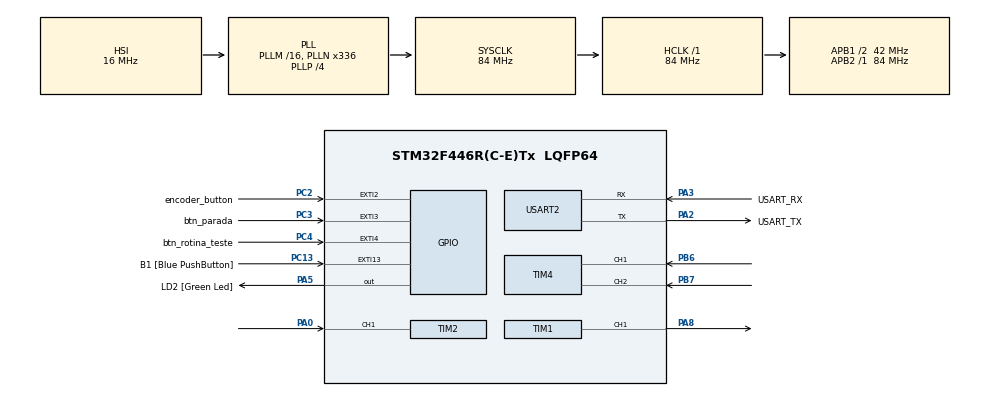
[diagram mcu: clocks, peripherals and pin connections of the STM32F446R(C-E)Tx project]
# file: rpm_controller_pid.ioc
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Mcu.Family=STM32F4
Mcu.Name=STM32F446R(C-E)Tx
Mcu.Package=LQFP64
Mcu.UserConstants=pwm,pwm
NVIC.EXTI15_10_IRQn=true\:0\:0\:false\:false\:true\:true\:true\:true
NVIC.EXTI2_IRQn=true\:0\:0\:false\:false\:true\:true\:true\:true
NVIC.EXTI3_IRQn=true\:0\:0\:false\:false\:true\:true\:true\:true
NVIC.EXTI4_IRQn=true\:0\:0\:false\:false\:true\:true\:true\:true
NVIC.PriorityGroup=NVIC_PRIORITYGROUP_0
NVIC.TIM1_BRK_TIM9_IRQn=true\:0\:0\:false\:false\:true\:true\:true\:true
NVIC.TIM1_CC_IRQn=true\:0\:0\:false\:false\:true\:true\:true\:true
NVIC.TIM1_TRG_COM_TIM11_IRQn=true\:0\:0\:false\:false\:true\:true\:true\:true
NVIC.TIM1_UP_TIM10_IRQn=true\:0\:0\:false\:false\:true\:true\:true\:true
NVIC.TIM2_IRQn=true\:0\:0\:false\:false\:true\:true\:true\:true
NVIC.TIM4_IRQn=true\:0\:0\:false\:false\:true\:true\:true\:true
NVIC.USART2_IRQn=true\:0\:0\:false\:false\:true\:true\:true\:true
PA0-WKUP.Signal=S_TIM2_CH1_ETR
PA13.GPIO_Label=TMS
PA13.Mode=Serial_Wire
PA13.Signal=SYS_JTMS-SWDIO
PA14.GPIO_Label=TCK
PA14.Mode=Serial_Wire
PA14.Signal=SYS_JTCK-SWCLK
PA2.GPIO_Label=USART_TX
PA2.Mode=Asynchronous
PA2.Signal=USART2_TX
PA3.GPIO_Label=USART_RX
PA3.Mode=Asynchronous
PA3.Signal=USART2_RX
PA5.GPIO_Label=LD2 [Green Led]
PA5.Signal=GPIO_Output
PA8.Signal=S_TIM1_CH1
PB3.GPIO_Label=SWO
PB3.Signal=SYS_JTDO-SWO
PB6.Signal=S_TIM4_CH1
PB7.Signal=S_TIM4_CH2
PC13.GPIO_Label=B1 [Blue PushButton]
PC13.GPIO_ModeDefaultEXTI=GPIO_MODE_IT_FALLING
PC13.Signal=GPXTI13
PC14-OSC32_IN.Mode=LSE-External-Oscillator
PC14-OSC32_IN.Signal=RCC_OSC32_IN
PC15-OSC32_OUT.Mode=LSE-External-Oscillator
PC15-OSC32_OUT.Signal=RCC_OSC32_OUT
PC2.GPIO_Label=encoder_button
PC2.GPIO_ModeDefaultEXTI=GPIO_MODE_IT_FALLING
PC2.Signal=GPXTI2
PC3.GPIO_Label=btn_parada
PC3.Signal=GPXTI3
PC4.GPIO_Label=btn_rotina_teste
PC4.Signal=GPXTI4
PH0-OSC_IN.Mode=HSE-External-Oscillator
PH0-OSC_IN.Signal=RCC_OSC_IN
PH1-OSC_OUT.Mode=HSE-External-Oscillator
PH1-OSC_OUT.Signal=RCC_OSC_OUT
ProjectManager.HeapSize=0x200
ProjectManager.StackSize=0x400
ProjectManager.TargetToolchain=STM32CubeIDE
RCC.48MHZClocksFreq_Value=84000000
RCC.AHBFreq_Value=84000000
RCC.APB1CLKDivider=RCC_HCLK_DIV2
RCC.APB1Freq_Value=42000000
RCC.APB1TimFreq_Value=84000000
RCC.APB2Freq_Value=84000000
RCC.APB2TimFreq_Value=84000000
RCC.CortexFreq_Value=84000000
RCC.FLatency-AdvancedSettings=FLASH_LATENCY_2
RCC.HCLKFreq_Value=84000000
RCC.HSE_VALUE=8000000
RCC.HSI_VALUE=16000000
RCC.PLLN=336
RCC.PLLP=RCC_PLLP_DIV4
RCC.SYSCLKFreq_VALUE=84000000
RCC.SYSCLKSource=RCC_SYSCLKSOURCE_PLLCLK
RCC.USBFreq_Value=168000000
RCC.VCOOutputFreq_Value=336000000
SH.S_TIM1_CH1.0=TIM1_CH1,PWM Generation1 CH1
SH.S_TIM2_CH1_ETR.0=TIM2_CH1,Input_Capture1_from_TI1
SH.S_TIM4_CH1.0=TIM4_CH1,Encoder_Interface
SH.S_TIM4_CH2.0=TIM4_CH2,Encoder_Interface
TIM1.Channel-Output\ Compare2\ No\ Output=TIM_CHANNEL_2
TIM1.Channel-PWM\ Generation1\ CH1=TIM_CHANNEL_1
TIM1.OCPolarity_1=TIM_OCPOLARITY_HIGH
TIM1.Period=1000-1
TIM1.Prescaler=84-1
TIM1.Pulse-Output\ Compare2\ No\ Output=999
TIM2.Channel-Input_Capture1_from_TI1=TIM_CHANNEL_1
TIM2.ICPolarity_CH1=TIM_INPUTCHANNELPOLARITY_FALLING
TIM2.Prescaler=840 - 1
TIM4.EncoderMode=TIM_ENCODERMODE_TI12
TIM4.IC1Filter=10
TIM4.IC2Filter=10
USART2.VirtualMode=VM_ASYNC
VP_TIM1_VS_ClockSourceINT.Mode=Internal
VP_TIM1_VS_no_output2.Mode=Output Compare2 No Output
VP_TIM2_VS_ClockSourceINT.Mode=Internal
board=NUCLEO-F446RE

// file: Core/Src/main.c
/* USER CODE BEGIN Header */
/**
  ******************************************************************************
  * @file           : main.c
  * @brief          : Main program body
  ******************************************************************************
  * @attention
  *
  * Copyright (c) 2025 STMicroelectronics.
  * All rights reserved.
  *
  * This software is licensed under terms that can be found in the LICENSE file
  * in the root directory of this software component.
  * If no LICENSE file comes with this software, it is provided AS-IS.
  *
  ******************************************************************************
  */
/* USER CODE END Header */
#include "main.h"

/* USER CODE BEGIN Includes */
#include <stdlib.h>
#include <stdio.h>
#include <stdbool.h>
#include <string.h>
/* USER CODE END Includes */

/* USER CODE BEGIN PD */
#define RX_BUFFER_SIZE 100
#define TX_BUFFER_SIZE 100
#define TIMCLOCK 84000000
#define PRESCALER 840
/* USER CODE END PD */

TIM_HandleTypeDef htim1;
TIM_HandleTypeDef htim2;
TIM_HandleTypeDef htim4;

UART_HandleTypeDef huart2;

void SystemClock_Config(void);
static void MX_GPIO_Init(void);
static void MX_USART2_UART_Init(void);
static void MX_TIM4_Init(void);
static void MX_TIM1_Init(void);
static void MX_TIM2_Init(void);
/* USER CODE BEGIN PFP */
void HAL_GPIO_EXTI_Callback(uint16_t GPIO_Pin);
void HAL_TIM_IC_CaptureCallback(TIM_HandleTypeDef *htim);
void Encoder_CheckChange(TIM_HandleTypeDef *htim);
/* USER CODE END PFP */

/* USER CODE BEGIN 0 */
//PID_TypeDef RPM_PID;

uint32_t encoder_position = 0;
uint32_t rpm_selection = 1;
double pwm = 0;
uint32_t last_count = 0;
uint32_t count = 0;
uint32_t velocity[3] = {250, 305, 1000};

bool parada = true;
bool teste_motor = false;

bool is_captured = false;
uint32_t IC_Val1 = 0;
uint32_t IC_Val2 = 0;
uint32_t difference = 0;
float ref_clock = 0;
double frequencia = 0;
double rpm_real = 0;

char cmd;

char tx_buffer[TX_BUFFER_SIZE];
char msg[150];
int aux = 0;
int oc_ticks = 0;

/* USER CODE END 0 */

int main(void)
{

  /* MCU Configuration--------------------------------------------------------*/

  /* Reset of all peripherals, Initializes the Flash interface and the Systick. */
  HAL_Init();

  /* Configure the system clock */
  SystemClock_Config();

  /* Initialize all configured peripherals */
  MX_GPIO_Init();
  MX_USART2_UART_Init();
  MX_TIM4_Init();
  MX_TIM1_Init();
  MX_TIM2_Init();
  /* USER CODE BEGIN 2 */
  HAL_TIM_Encoder_Start(&htim4, TIM_CHANNEL_ALL);
  HAL_TIM_IC_Start_IT(&htim2, TIM_CHANNEL_1);
  HAL_UART_Receive_IT(&huart2, &cmd, 1);
  HAL_TIM_PWM_Start(&htim1, TIM_CHANNEL_1);

  /* USER CODE END 2 */

  /* Infinite loop */
  /* USER CODE BEGIN WHILE */
  while (1)
  {
	 encoder_position = __HAL_TIM_GET_COUNTER(&htim4);
	 rpm_real = frequencia*60;
	 Encoder_CheckChange(&htim4);
	 if(rpm_selection > 3){
		 rpm_selection = 3;
	 } else if(rpm_selection < 1){
		 rpm_selection = 1;
	 }
	 sprintf(msg, "{\"parada\": \"%s\", \"teste_motor\": \"%s\", \"frequencia\": \"%d\", \"rpm_real\": \"%d\", \"rpm_selection\": \"%d\"}\r\n", (parada ? "true" : "false"), (teste_motor ? "true" : "false"), (int) frequencia, (int) rpm_real, (int) rpm_selection);
	 //sprintf(msg, "{\"parada\": \"%s\", \"teste_motor\": \"%s\", \"frequencia\": \"%d\", \"rpm_real\": \"%d\"}\r\n", (parada ? "true" : "false"), (teste_motor ? "true" : "false"), (int) frequencia, (int) rpm_real);
	 HAL_UART_Transmit(&huart2, msg, strlen(msg), 10);
	 if(parada) {
	  	 __HAL_TIM_SET_COMPARE(&htim1, TIM_CHANNEL_1, 0);
	  	 frequencia = 0;
	  	 rpm_real = 0;
	 } else if(teste_motor){
	 	 __HAL_TIM_SET_COMPARE(&htim1, TIM_CHANNEL_1, velocity[aux]);
	 }else{
	 	 __HAL_TIM_SET_COMPARE(&htim1, TIM_CHANNEL_1, velocity[rpm_selection - 1]);
	 }
    /* USER CODE END WHILE */

  }
}

void SystemClock_Config(void)
{
  RCC_OscInitTypeDef RCC_OscInitStruct = {0};
  RCC_ClkInitTypeDef RCC_ClkInitStruct = {0};

  /** Configure the main internal regulator output voltage
  */
  __HAL_RCC_PWR_CLK_ENABLE();
  __HAL_PWR_VOLTAGESCALING_CONFIG(PWR_REGULATOR_VOLTAGE_SCALE3);

  /** Initializes the RCC Oscillators according to the specified parameters
  * in the RCC_OscInitTypeDef structure.
  */
  RCC_OscInitStruct.OscillatorType = RCC_OSCILLATORTYPE_HSI;
  RCC_OscInitStruct.HSIState = RCC_HSI_ON;
  RCC_OscInitStruct.HSICalibrationValue = RCC_HSICALIBRATION_DEFAULT;
  RCC_OscInitStruct.PLL.PLLState = RCC_PLL_ON;
  RCC_OscInitStruct.PLL.PLLSource = RCC_PLLSOURCE_HSI;
  RCC_OscInitStruct.PLL.PLLM = 16;
  RCC_OscInitStruct.PLL.PLLN = 336;
  RCC_OscInitStruct.PLL.PLLP = RCC_PLLP_DIV4;
  RCC_OscInitStruct.PLL.PLLQ = 2;
  RCC_OscInitStruct.PLL.PLLR = 2;
  if (HAL_RCC_OscConfig(&RCC_OscInitStruct) != HAL_OK)
  {
    Error_Handler();
  }

  /** Initializes the CPU, AHB and APB buses clocks
  */
  RCC_ClkInitStruct.ClockType = RCC_CLOCKTYPE_HCLK|RCC_CLOCKTYPE_SYSCLK
                              |RCC_CLOCKTYPE_PCLK1|RCC_CLOCKTYPE_PCLK2;
  RCC_ClkInitStruct.SYSCLKSource = RCC_SYSCLKSOURCE_PLLCLK;
  RCC_ClkInitStruct.AHBCLKDivider = RCC_SYSCLK_DIV1;
  RCC_ClkInitStruct.APB1CLKDivider = RCC_HCLK_DIV2;
  RCC_ClkInitStruct.APB2CLKDivider = RCC_HCLK_DIV1;

  if (HAL_RCC_ClockConfig(&RCC_ClkInitStruct, FLASH_LATENCY_2) != HAL_OK)
  {
    Error_Handler();
  }
}

static void MX_TIM1_Init(void)
{

  TIM_ClockConfigTypeDef sClockSourceConfig = {0};
  TIM_MasterConfigTypeDef sMasterConfig = {0};
  TIM_OC_InitTypeDef sConfigOC = {0};
  TIM_BreakDeadTimeConfigTypeDef sBreakDeadTimeConfig = {0};

  htim1.Instance = TIM1;
  htim1.Init.Prescaler = 84-1;
  htim1.Init.CounterMode = TIM_COUNTERMODE_UP;
  htim1.Init.Period = 1000-1;
  htim1.Init.ClockDivision = TIM_CLOCKDIVISION_DIV1;
  htim1.Init.RepetitionCounter = 0;
  htim1.Init.AutoReloadPreload = TIM_AUTORELOAD_PRELOAD_DISABLE;
  if (HAL_TIM_Base_Init(&htim1) != HAL_OK)
  {
    Error_Handler();
  }
  sClockSourceConfig.ClockSource = TIM_CLOCKSOURCE_INTERNAL;
  if (HAL_TIM_ConfigClockSource(&htim1, &sClockSourceConfig) != HAL_OK)
  {
    Error_Handler();
  }
  if (HAL_TIM_PWM_Init(&htim1) != HAL_OK)
  {
    Error_Handler();
  }
  if (HAL_TIM_OC_Init(&htim1) != HAL_OK)
  {
    Error_Handler();
  }
  sMasterConfig.MasterOutputTrigger = TIM_TRGO_RESET;
  sMasterConfig.MasterSlaveMode = TIM_MASTERSLAVEMODE_DISABLE;
  if (HAL_TIMEx_MasterConfigSynchronization(&htim1, &sMasterConfig) != HAL_OK)
  {
    Error_Handler();
  }
  sConfigOC.OCMode = TIM_OCMODE_PWM1;
  sConfigOC.Pulse = 0;
  sConfigOC.OCPolarity = TIM_OCPOLARITY_HIGH;
  sConfigOC.OCNPolarity = TIM_OCNPOLARITY_HIGH;
  sConfigOC.OCFastMode = TIM_OCFAST_DISABLE;
  sConfigOC.OCIdleState = TIM_OCIDLESTATE_RESET;
  sConfigOC.OCNIdleState = TIM_OCNIDLESTATE_RESET;
  if (HAL_TIM_PWM_ConfigChannel(&htim1, &sConfigOC, TIM_CHANNEL_1) != HAL_OK)
  {
    Error_Handler();
  }
  sConfigOC.OCMode = TIM_OCMODE_TIMING;
  sConfigOC.Pulse = 999;
  if (HAL_TIM_OC_ConfigChannel(&htim1, &sConfigOC, TIM_CHANNEL_2) != HAL_OK)
  {
    Error_Handler();
  }
  sBreakDeadTimeConfig.OffStateRunMode = TIM_OSSR_DISABLE;
  sBreakDeadTimeConfig.OffStateIDLEMode = TIM_OSSI_DISABLE;
  sBreakDeadTimeConfig.LockLevel = TIM_LOCKLEVEL_OFF;
  sBreakDeadTimeConfig.DeadTime = 0;
  sBreakDeadTimeConfig.BreakState = TIM_BREAK_DISABLE;
  sBreakDeadTimeConfig.BreakPolarity = TIM_BREAKPOLARITY_HIGH;
  sBreakDeadTimeConfig.AutomaticOutput = TIM_AUTOMATICOUTPUT_DISABLE;
  if (HAL_TIMEx_ConfigBreakDeadTime(&htim1, &sBreakDeadTimeConfig) != HAL_OK)
  {
    Error_Handler();
  }
  HAL_TIM_MspPostInit(&htim1);

}

static void MX_TIM2_Init(void)
{

  TIM_ClockConfigTypeDef sClockSourceConfig = {0};
  TIM_MasterConfigTypeDef sMasterConfig = {0};
  TIM_IC_InitTypeDef sConfigIC = {0};

  htim2.Instance = TIM2;
  htim2.Init.Prescaler = 840 - 1;
  htim2.Init.CounterMode = TIM_COUNTERMODE_UP;
  htim2.Init.Period = 4294967295;
  htim2.Init.ClockDivision = TIM_CLOCKDIVISION_DIV1;
  htim2.Init.AutoReloadPreload = TIM_AUTORELOAD_PRELOAD_DISABLE;
  if (HAL_TIM_Base_Init(&htim2) != HAL_OK)
  {
    Error_Handler();
  }
  sClockSourceConfig.ClockSource = TIM_CLOCKSOURCE_INTERNAL;
  if (HAL_TIM_ConfigClockSource(&htim2, &sClockSourceConfig) != HAL_OK)
  {
    Error_Handler();
  }
  if (HAL_TIM_IC_Init(&htim2) != HAL_OK)
  {
    Error_Handler();
  }
  sMasterConfig.MasterOutputTrigger = TIM_TRGO_RESET;
  sMasterConfig.MasterSlaveMode = TIM_MASTERSLAVEMODE_DISABLE;
  if (HAL_TIMEx_MasterConfigSynchronization(&htim2, &sMasterConfig) != HAL_OK)
  {
    Error_Handler();
  }
  sConfigIC.ICPolarity = TIM_INPUTCHANNELPOLARITY_FALLING;
  sConfigIC.ICSelection = TIM_ICSELECTION_DIRECTTI;
  sConfigIC.ICPrescaler = TIM_ICPSC_DIV1;
  sConfigIC.ICFilter = 0;
  if (HAL_TIM_IC_ConfigChannel(&htim2, &sConfigIC, TIM_CHANNEL_1) != HAL_OK)
  {
    Error_Handler();
  }

}

static void MX_TIM4_Init(void)
{

  TIM_Encoder_InitTypeDef sConfig = {0};
  TIM_MasterConfigTypeDef sMasterConfig = {0};

  htim4.Instance = TIM4;
  htim4.Init.Prescaler = 0;
  htim4.Init.CounterMode = TIM_COUNTERMODE_UP;
  htim4.Init.Period = 65535;
  htim4.Init.ClockDivision = TIM_CLOCKDIVISION_DIV1;
  htim4.Init.AutoReloadPreload = TIM_AUTORELOAD_PRELOAD_DISABLE;
  sConfig.EncoderMode = TIM_ENCODERMODE_TI12;
  sConfig.IC1Polarity = TIM_ICPOLARITY_RISING;
  sConfig.IC1Selection = TIM_ICSELECTION_DIRECTTI;
  sConfig.IC1Prescaler = TIM_ICPSC_DIV1;
  sConfig.IC1Filter = 10;
  sConfig.IC2Polarity = TIM_ICPOLARITY_RISING;
  sConfig.IC2Selection = TIM_ICSELECTION_DIRECTTI;
  sConfig.IC2Prescaler = TIM_ICPSC_DIV1;
  sConfig.IC2Filter = 10;
  if (HAL_TIM_Encoder_Init(&htim4, &sConfig) != HAL_OK)
  {
    Error_Handler();
  }
  sMasterConfig.MasterOutputTrigger = TIM_TRGO_RESET;
  sMasterConfig.MasterSlaveMode = TIM_MASTERSLAVEMODE_DISABLE;
  if (HAL_TIMEx_MasterConfigSynchronization(&htim4, &sMasterConfig) != HAL_OK)
  {
    Error_Handler();
  }

}

static void MX_USART2_UART_Init(void)
{

  huart2.Instance = USART2;
  huart2.Init.BaudRate = 115200;
  huart2.Init.WordLength = UART_WORDLENGTH_8B;
  huart2.Init.StopBits = UART_STOPBITS_1;
  huart2.Init.Parity = UART_PARITY_NONE;
  huart2.Init.Mode = UART_MODE_TX_RX;
  huart2.Init.HwFlowCtl = UART_HWCONTROL_NONE;
  huart2.Init.OverSampling = UART_OVERSAMPLING_16;
  if (HAL_UART_Init(&huart2) != HAL_OK)
  {
    Error_Handler();
  }

}

static void MX_GPIO_Init(void)
{
  GPIO_InitTypeDef GPIO_InitStruct = {0};

  /* GPIO Ports Clock Enable */
  __HAL_RCC_GPIOC_CLK_ENABLE();
  __HAL_RCC_GPIOH_CLK_ENABLE();
  __HAL_RCC_GPIOA_CLK_ENABLE();
  __HAL_RCC_GPIOB_CLK_ENABLE();

  /*Configure GPIO pin Output Level */
  HAL_GPIO_WritePin(LD2_GPIO_Port, LD2_Pin, GPIO_PIN_RESET);

  /*Configure GPIO pins : B1_Pin encoder_button_Pin */
  GPIO_InitStruct.Pin = B1_Pin|encoder_button_Pin;
  GPIO_InitStruct.Mode = GPIO_MODE_IT_FALLING;
  GPIO_InitStruct.Pull = GPIO_NOPULL;
  HAL_GPIO_Init(GPIOC, &GPIO_InitStruct);

  /*Configure GPIO pins : btn_parada_Pin btn_rotina_teste_Pin */
  GPIO_InitStruct.Pin = btn_parada_Pin|btn_rotina_teste_Pin;
  GPIO_InitStruct.Mode = GPIO_MODE_IT_RISING;
  GPIO_InitStruct.Pull = GPIO_NOPULL;
  HAL_GPIO_Init(GPIOC, &GPIO_InitStruct);

  /*Configure GPIO pin : LD2_Pin */
  GPIO_InitStruct.Pin = LD2_Pin;
  GPIO_InitStruct.Mode = GPIO_MODE_OUTPUT_PP;
  GPIO_InitStruct.Pull = GPIO_NOPULL;
  GPIO_InitStruct.Speed = GPIO_SPEED_FREQ_LOW;
  HAL_GPIO_Init(LD2_GPIO_Port, &GPIO_InitStruct);

  /* EXTI interrupt init*/
  HAL_NVIC_SetPriority(EXTI2_IRQn, 0, 0);
  HAL_NVIC_EnableIRQ(EXTI2_IRQn);

  HAL_NVIC_SetPriority(EXTI3_IRQn, 0, 0);
  HAL_NVIC_EnableIRQ(EXTI3_IRQn);

  HAL_NVIC_SetPriority(EXTI4_IRQn, 0, 0);
  HAL_NVIC_EnableIRQ(EXTI4_IRQn);

  HAL_NVIC_SetPriority(EXTI15_10_IRQn, 0, 0);
  HAL_NVIC_EnableIRQ(EXTI15_10_IRQn);

}

/* USER CODE BEGIN 4 */
void HAL_GPIO_EXTI_Callback(uint16_t GPIO_Pin) {
	uint32_t tempo_atual = HAL_GetTick();
	static uint32_t tempo_anterior = 0;
	static uint32_t tempo_anterior_parada = 0;
	static uint32_t tempo_anterior_teste = 0;

	switch(GPIO_Pin) {
	case encoder_button_Pin:
		if(((tempo_atual - tempo_anterior) > 50) && oc_ticks == 0) {
			parada = false;
			teste_motor = false;
			tempo_anterior = tempo_atual;
		}
		break;
	case btn_parada_Pin:
		if((tempo_atual - tempo_anterior_parada) > 50) {
			teste_motor = false;
			parada = true;
			aux = 0;
			oc_ticks = 0;
			HAL_TIM_OC_Stop_IT(&htim1, TIM_CHANNEL_2);
			tempo_anterior_parada = tempo_atual;
		}
		break;
	case btn_rotina_teste_Pin:
		if((tempo_atual - tempo_anterior_teste) > 50) {
			parada = false;
			teste_motor = true;
			HAL_TIM_OC_Start_IT(&htim1, TIM_CHANNEL_2);
			tempo_anterior_teste = tempo_atual;
		}
		break;
	default:
		break;
	}
}

void HAL_UART_RxCpltCallback(UART_HandleTypeDef *huart) {

	switch (cmd) {
	/*
	case 'l':
		parada = false;
		teste_motor = false;
		rpm_selection = atoi(cmd[1]);
		break;
		*/
	case 't':
		parada = false;
		teste_motor = true;
		HAL_TIM_OC_Start_IT(&htim1, TIM_CHANNEL_2);
		break;
	case 'd':
		teste_motor = false;
		parada = true;
		aux = 0;
		oc_ticks = 0;
		HAL_TIM_OC_Stop_IT(&htim1, TIM_CHANNEL_2);
		break;
	default:
		if (cmd - '0' >= 0 && oc_ticks == 0) {
			teste_motor = false;
			parada = false;
			rpm_selection = cmd - '0';
		}
		break;
	}
	cmd = '\0';
	HAL_UART_Receive_IT(&huart2, &cmd, 1);
}

void HAL_TIM_IC_CaptureCallback(TIM_HandleTypeDef *htim) {
	if(htim->Channel == HAL_TIM_ACTIVE_CHANNEL_1 && htim->Instance == TIM2) {
		if(is_captured == false) {
			IC_Val1 = HAL_TIM_ReadCapturedValue(htim, TIM_CHANNEL_1);
			is_captured = true;
		} else {
			IC_Val2 = HAL_TIM_ReadCapturedValue(htim, TIM_CHANNEL_1);

			if(IC_Val2 > IC_Val1) {
				difference = IC_Val2 - IC_Val1;
			}

			ref_clock = TIMCLOCK/PRESCALER;
			frequencia = ref_clock/difference;
			__HAL_TIM_SET_COUNTER(htim, 0);
			is_captured = false;
		}
	}
}

void Encoder_CheckChange(TIM_HandleTypeDef *htim) {
	count = encoder_position/2;
	if (count > last_count && cmd == '\0') {
       rpm_selection++;
    } else if (count < last_count && cmd == '\0') {
       rpm_selection--;
    }
    last_count = count;
}

void HAL_TIM_OC_DelayElapsedCallback(TIM_HandleTypeDef *htim) {
        oc_ticks++;
        if(oc_ticks >= 5000) {
        	aux++;
        	oc_ticks = 0;
        }
        if(aux>2) {
        	aux = 0;
        	HAL_TIM_OC_Stop_IT(&htim1, TIM_CHANNEL_2);
        	teste_motor = false;
        	parada = true;
        }
}
/* USER CODE END 4 */

void Error_Handler(void)
{
  __disable_irq();
  while (1)
  {
  }
}
